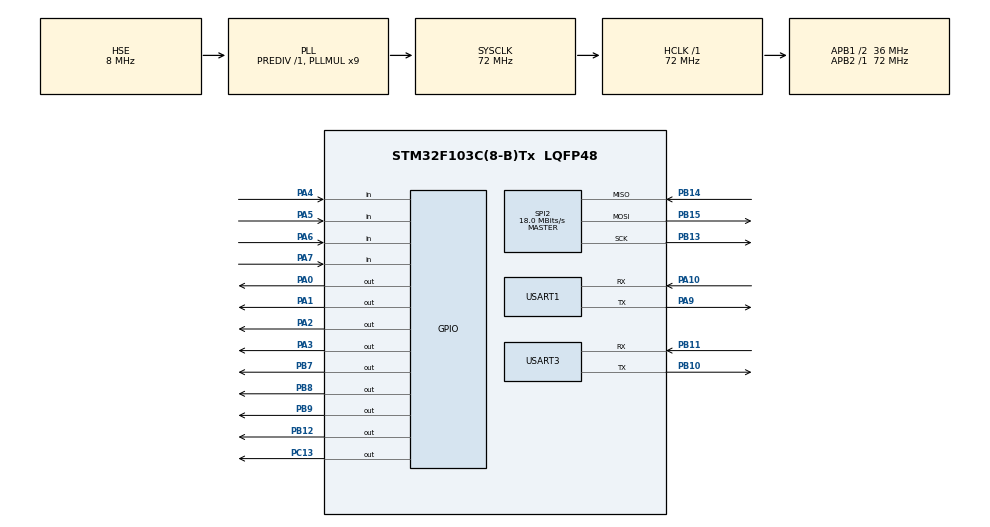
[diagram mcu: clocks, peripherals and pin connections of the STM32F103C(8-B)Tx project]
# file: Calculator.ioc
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Mcu.Family=STM32F1
Mcu.Name=STM32F103C(8-B)Tx
Mcu.Package=LQFP48
NVIC.PriorityGroup=NVIC_PRIORITYGROUP_4
NVIC.TIM2_IRQn=true\:0\:0\:false\:false\:true\:true\:true
NVIC.TIM3_IRQn=true\:0\:0\:false\:false\:true\:true\:true
NVIC.USART1_IRQn=true\:0\:0\:false\:false\:true\:true\:true
NVIC.USART3_IRQn=true\:2\:0\:true\:false\:true\:true\:true
PA0-WKUP.GPIO_Speed=GPIO_SPEED_FREQ_HIGH
PA0-WKUP.Signal=GPIO_Output
PA1.GPIO_Speed=GPIO_SPEED_FREQ_HIGH
PA1.Signal=GPIO_Output
PA10.Mode=Asynchronous
PA10.Signal=USART1_RX
PA13.Mode=Serial_Wire
PA13.Signal=SYS_JTMS-SWDIO
PA14.Mode=Serial_Wire
PA14.Signal=SYS_JTCK-SWCLK
PA2.GPIO_Speed=GPIO_SPEED_FREQ_HIGH
PA2.Signal=GPIO_Output
PA3.GPIO_Speed=GPIO_SPEED_FREQ_HIGH
PA3.Signal=GPIO_Output
PA4.GPIO_PuPd=GPIO_PULLUP
PA4.Signal=GPIO_Input
PA5.GPIO_PuPd=GPIO_PULLUP
PA5.Signal=GPIO_Input
PA6.GPIO_PuPd=GPIO_PULLUP
PA6.Signal=GPIO_Input
PA7.GPIO_PuPd=GPIO_PULLUP
PA7.Signal=GPIO_Input
PA9.Mode=Asynchronous
PA9.Signal=USART1_TX
PB10.Mode=Asynchronous
PB10.Signal=USART3_TX
PB11.Mode=Asynchronous
PB11.Signal=USART3_RX
PB12.GPIO_Speed=GPIO_SPEED_FREQ_HIGH
PB12.Signal=GPIO_Output
PB13.Mode=Full_Duplex_Master
PB13.Signal=SPI2_SCK
PB14.Mode=Full_Duplex_Master
PB14.Signal=SPI2_MISO
PB15.Mode=Full_Duplex_Master
PB15.Signal=SPI2_MOSI
PB7.GPIO_Speed=GPIO_SPEED_FREQ_HIGH
PB7.Signal=GPIO_Output
PB8.GPIO_Speed=GPIO_SPEED_FREQ_HIGH
PB8.Signal=GPIO_Output
PB9.GPIO_Speed=GPIO_SPEED_FREQ_HIGH
PB9.Signal=GPIO_Output
PC13-TAMPER-RTC.GPIO_Speed=GPIO_SPEED_FREQ_HIGH
PC13-TAMPER-RTC.PinState=GPIO_PIN_SET
PC13-TAMPER-RTC.Signal=GPIO_Output
PC14-OSC32_IN.Mode=LSE-External-Oscillator
PC14-OSC32_IN.Signal=RCC_OSC32_IN
PC15-OSC32_OUT.Mode=LSE-External-Oscillator
PC15-OSC32_OUT.Signal=RCC_OSC32_OUT
PD0-OSC_IN.Mode=HSE-External-Oscillator
PD0-OSC_IN.Signal=RCC_OSC_IN
PD1-OSC_OUT.Mode=HSE-External-Oscillator
PD1-OSC_OUT.Signal=RCC_OSC_OUT
ProjectManager.HeapSize=0xF00
ProjectManager.StackSize=0x2F00
ProjectManager.TargetToolchain=MDK-ARM V5
RCC.AHBFreq_Value=72000000
RCC.APB1CLKDivider=RCC_HCLK_DIV2
RCC.APB1Freq_Value=36000000
RCC.APB1TimFreq_Value=72000000
RCC.APB2Freq_Value=72000000
RCC.APB2TimFreq_Value=72000000
RCC.HCLKFreq_Value=72000000
RCC.PLLMUL=RCC_PLL_MUL9
RCC.PLLSourceVirtual=RCC_PLLSOURCE_HSE
RCC.SYSCLKFreq_VALUE=72000000
RCC.SYSCLKSource=RCC_SYSCLKSOURCE_PLLCLK
RCC.USBFreq_Value=72000000
SPI2.CalculateBaudRate=18.0 MBits/s
SPI2.Direction=SPI_DIRECTION_2LINES
SPI2.Mode=SPI_MODE_MASTER
SPI2.VirtualType=VM_MASTER
TIM2.ClockDivision=TIM_CLOCKDIVISION_DIV1
TIM2.Period=8999
TIM2.Prescaler=7999
TIM3.Period=49
TIM3.Prescaler=7199
USART1.StopBits=STOPBITS_1
USART1.VirtualMode=VM_ASYNC
USART3.VirtualMode=VM_ASYNC
VP_TIM2_VS_ClockSourceINT.Mode=Internal
VP_TIM3_VS_ClockSourceINT.Mode=Internal
board=custom

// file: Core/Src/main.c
/* USER CODE BEGIN Header */
/**
 ******************************************************************************
 * @file           : main.c
 * @brief          : Main program body
 ******************************************************************************
 * @attention
 *
 * <h2><center>&copy; Copyright (c) 2023 STMicroelectronics.
 * All rights reserved.</center></h2>
 *
 * This software component is licensed by ST under BSD 3-Clause license,
 * the "License"; You may not use this file except in compliance with the
 * License. You may obtain a copy of the License at:
 *                        opensource.org/licenses/BSD-3-Clause
 *
 ******************************************************************************
 */
/* USER CODE END Header */
#include "main.h"
#include "spi.h"
#include "tim.h"
#include "usart.h"
#include "gpio.h"

void SystemClock_Config(void);

/* USER CODE BEGIN 0 */
uint8_t rxbuf; // huart1 receive buffer
/* USER CODE END 0 */

int main(void)
{

  /* MCU Configuration--------------------------------------------------------*/

  /* Reset of all peripherals, Initializes the Flash interface and the Systick. */
  HAL_Init();

  /* Configure the system clock */
  SystemClock_Config();

  /* Initialize all configured peripherals */
  MX_GPIO_Init();
  MX_SPI2_Init();
  MX_USART1_UART_Init();
  MX_TIM2_Init();
  MX_TIM3_Init();
  MX_USART3_UART_Init();
  /* USER CODE BEGIN 2 */
  lcdBegin();
  InitCalculatorGP();
  initHostButtonFrame();
  openingVideo();
  showMenu();
  // lcdFunTime();
  HAL_UART_Receive_IT(&huart1, &rxbuf, 1);
  HAL_TIM_Base_Start_IT(&htim2);

  /* USER CODE END 2 */

  /* Infinite loop */
  while (1)
  {

    /* USER CODE BEGIN 3 */
    // Obtain button type, most of time the buttonPressedType is BUT_NO_PRESS
    buttonPressedType = checkButton();
    // debug:
    if (hostButtonFrame.serialHostPressCnt != hostButtonCnt)
    {
      buttonPressedType = hostButtonFrame.serialButtonType;
      hostButtonCnt = hostButtonFrame.serialHostPressCnt;
    }
    // end bebug

    if (buttonPressedType != BUT_NO_PRESS)
    {
      // 1.if button == SHIFT
      if (buttonPressedType == BUT_SHIFT)
      {
        dispMode = DISPMODE_MENU;
        showMenu();
      }
      // button != SHIFT, if dispMode == MENU, check if button == 1,2,3 or do nothing
      else if (dispMode == DISPMODE_MENU)
      {
        if (buttonPressedType == BUT_1)
        {
          dispMode = DISPMODE_CAL;
          calData.cursorState = CURSOR_ST_1;
        }
        else if (buttonPressedType == BUT_2)
        {
          dispMode = DISPMODE_SOLVEX;
          calData.cursorState = CURSOR_ST_1;
        }
        else if (buttonPressedType == BUT_3)
        {
          dispMode = DISPMODE_SOLVEXY;
          calData.cursorState = CURSOR_ST_1;
        }
      }
      // dispMode == cal or solve, button == number or operator
      else
      {
        updateButtonState(buttonPressedType);
        updateEquationString();
        // updateCalDisplayMap() draws the string in calData(and other information struct) on DisplayMap[] array, then updateDisplay print displayMap[] on LCD screen
        updateCalDisplayMap();
        updateDisplay();
      }
    }
    if (buttonPressedType == BUT_NO_PRESS)
    {
      // in Menu mode, show menu
      // in calculation mode , refresh screen to show cursor
      if (dispMode == DISPMODE_MENU)
      {
        showMenu();
      }
      else
      {
        updateCalDisplayMap();
        updateDisplay();
      }
    }
    buttonPressedType = BUT_NO_PRESS;
    // 通过串口传给上位机Host
    UART_Transmit_Struct(&huart1, &calData, sizeof(calData));
  }
  /* USER CODE END 3 */
}

void SystemClock_Config(void)
{
  RCC_OscInitTypeDef RCC_OscInitStruct = {0};
  RCC_ClkInitTypeDef RCC_ClkInitStruct = {0};

  /** Initializes the RCC Oscillators according to the specified parameters
  * in the RCC_OscInitTypeDef structure.
  */
  RCC_OscInitStruct.OscillatorType = RCC_OSCILLATORTYPE_HSE;
  RCC_OscInitStruct.HSEState = RCC_HSE_ON;
  RCC_OscInitStruct.HSEPredivValue = RCC_HSE_PREDIV_DIV1;
  RCC_OscInitStruct.HSIState = RCC_HSI_ON;
  RCC_OscInitStruct.PLL.PLLState = RCC_PLL_ON;
  RCC_OscInitStruct.PLL.PLLSource = RCC_PLLSOURCE_HSE;
  RCC_OscInitStruct.PLL.PLLMUL = RCC_PLL_MUL9;
  if (HAL_RCC_OscConfig(&RCC_OscInitStruct) != HAL_OK)
  {
    Error_Handler();
  }
  /** Initializes the CPU, AHB and APB buses clocks
  */
  RCC_ClkInitStruct.ClockType = RCC_CLOCKTYPE_HCLK|RCC_CLOCKTYPE_SYSCLK
                              |RCC_CLOCKTYPE_PCLK1|RCC_CLOCKTYPE_PCLK2;
  RCC_ClkInitStruct.SYSCLKSource = RCC_SYSCLKSOURCE_PLLCLK;
  RCC_ClkInitStruct.AHBCLKDivider = RCC_SYSCLK_DIV1;
  RCC_ClkInitStruct.APB1CLKDivider = RCC_HCLK_DIV2;
  RCC_ClkInitStruct.APB2CLKDivider = RCC_HCLK_DIV1;

  if (HAL_RCC_ClockConfig(&RCC_ClkInitStruct, FLASH_LATENCY_2) != HAL_OK)
  {
    Error_Handler();
  }
}

/* USER CODE BEGIN 4 */
void HAL_UART_RxCpltCallback(UART_HandleTypeDef *huart)
{
  if (huart == &huart1)
  {
    /*rxbuf == data;*/
    stm32GetOneByte(rxbuf);
    HAL_UART_Receive_IT(&huart1, &rxbuf, 1);
  }
}

void HAL_TIM_PeriodElapsedCallback(TIM_HandleTypeDef *htim)
{
  if (htim == &htim2)
  {
    if (calData.cursorState == CURSOR_ST_0)
    {
      calData.cursorState = CURSOR_ST_1;
    }
    else if (calData.cursorState == CURSOR_ST_1)
    {
      calData.cursorState = CURSOR_ST_0;
    }
    else
    {
      // do nothing calData.cursorState == CURSOR_ST_NOTSHOW
    }
  }
  // �????测到state标志�????1，如果计时器�????5ms溢出�????次，每溢出一次，time++
  if (htim == &htim3)
  {
    if (m_but_state == 1)
    {
      m_but_time++;
    }
  }
}

/* USER CODE END 4 */

void Error_Handler(void)
{
  __disable_irq();
  while (1)
  {
  }
}

/************************ (C) COPYRIGHT STMicroelectronics *****END OF FILE****/
